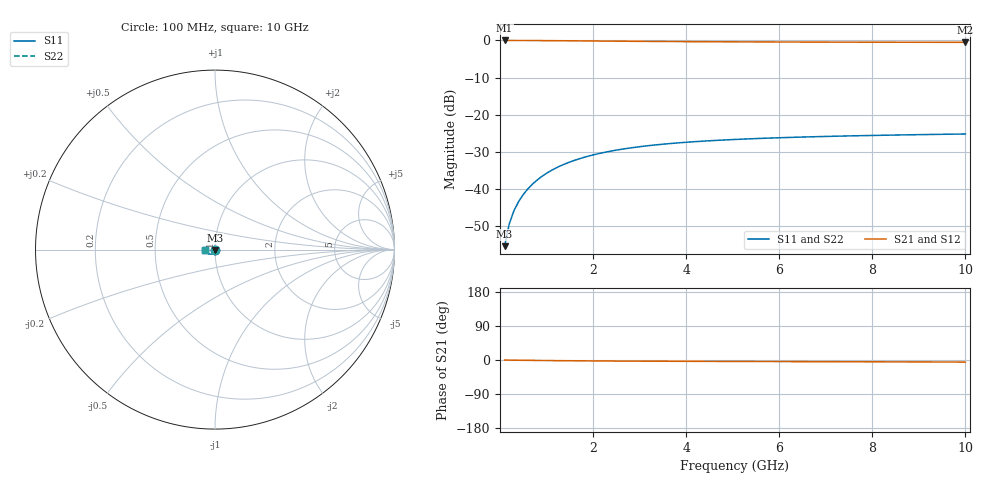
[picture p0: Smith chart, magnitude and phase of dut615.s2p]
! Touchstone file exported from HFSS 2024.1.0
!  File:  C:/UserFiles/LocalFiles/RDL_TSV_Batchsim/temp_TSV1_615_1779788576.aedt
!  Generated:  05:48:37 PM May 26, 2026
!  Design:  TSV1
!  Project:  temp_TSV1_615_1779788576
!  Setup:  Setup1
!  Solution:  Sweep
! Variables:
!  dtsv = 13.46um
!  hbump = 3um
!  htsv = 83.35um
!  lrdl = 252.1521522um
!  p = 40
!  p1 = 58.37um
!  t = 500um
!  trdl = 3um
!  wrdl = 24.89489489um
# GHz S MA R 50.000000
! Terminal data exported
! Port[1] = TSV22_T1
! Port[2] = TSV22_T2
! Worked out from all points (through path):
!   100 points, 100 MHz to 10 GHz, reference 50 ohm
!   highest |S21| = 0.00 dB at 100 MHz (marker M1); lowest = -0.5 dB at 10 GHz (marker M2)
!   lowest |S11| = -55.5 dB at 100 MHz (marker M3), VSWR 1.00, Z = 50 - j0.169 ohm
!   |S11| at or under -10 dB: start of sweep to end of sweep
!   |S22| runs from -55.5 to -25.2 dB; largest |S21 - S12| = 6e-15
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0.1  0.001687 -89.0  0.9998 -0.2  0.9998 -0.2  0.001687 -89.0
! Gamma 0 0 0 0
! Port Impedance 50 0 50 0
0.2  0.00337 -92.3  0.9997 -0.3  0.9997 -0.3  0.00337 -92.3
0.3  0.00505 -94.7  0.9994 -0.5  0.9994 -0.5  0.00505 -94.7
0.4  0.006718 -96.9  0.9989 -0.6  0.9989 -0.6  0.006718 -96.9
0.5  0.008369 -99.0  0.9984 -0.7  0.9984 -0.7  0.008369 -99.0
0.6  0.009996 -101.0  0.9978 -0.9  0.9978 -0.9  0.009996 -101.0
0.7  0.01159 -103.0  0.9971 -1.0  0.9971 -1.0  0.01159 -103.0
0.8  0.01316 -105.0  0.9963 -1.2  0.9963 -1.2  0.01316 -105.0
0.9  0.01469 -106.9  0.9955 -1.3  0.9955 -1.3  0.01469 -106.9
1.1  0.01763 -110.6  0.9936 -1.5  0.9936 -1.5  0.01763 -110.6
1.4  0.02171 -115.9  0.9904 -1.9  0.9904 -1.9  0.02171 -115.9
1.6  0.0242 -119.1  0.9881 -2.1  0.9881 -2.1  0.0242 -119.1
1.8  0.0265 -122.3  0.9858 -2.2  0.9858 -2.2  0.0265 -122.3
2.1  0.02963 -126.6  0.9823 -2.5  0.9823 -2.5  0.02963 -126.6
2.5  0.03324 -131.9  0.9779 -2.8  0.9779 -2.8  0.03324 -131.9
2.9  0.03627 -136.6  0.9737 -3.0  0.9737 -3.0  0.03627 -136.6
3.4  0.03941 -141.9  0.9691 -3.2  0.9691 -3.2  0.03941 -141.9
4.2  0.04327 -148.9  0.963 -3.5  0.963 -3.5  0.04327 -148.9
5.1  0.04644 -155.5  0.9577 -3.9  0.9577 -3.9  0.04644 -155.5
6.7  0.05027 -164.6  0.9512 -4.4  0.9512 -4.4  0.05027 -164.6
8.4  0.05297 -172.3  0.9467 -4.9  0.9467 -4.9  0.05297 -172.3
10  0.05485 -178.3  0.9439 -5.4  0.9439 -5.4  0.05485 -178.3
